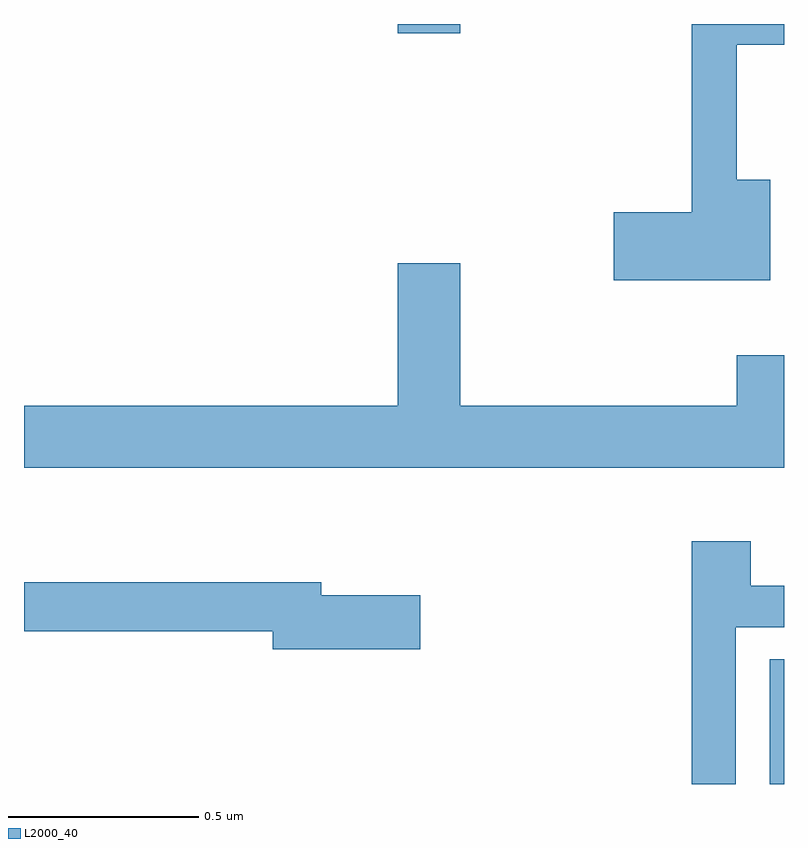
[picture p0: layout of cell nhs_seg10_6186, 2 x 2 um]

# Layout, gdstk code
import gdstk
lib = gdstk.Library(unit=1e-6, precision=1e-09)
def R(c, l, rs):  # rectangles x0, y0, x1, y1
    for r in rs: c.add(gdstk.rectangle(r[:2], r[2:], *l))
def P(c, l, *ps):  # polygons
    for p in ps: c.add(gdstk.Polygon(p, *l))
L2000_40 = (2000, 40)

nhs_seg10_6186 = lib.new_cell('nhs_seg10_6186')
R(nhs_seg10_6186, L2000_40, [(189.962,1283.5,190,1283.828), (188.984,1285.476,189.148,1285.5)])
P(nhs_seg10_6186, L2000_40, [(189.964,1285.09),(189.875,1285.09),(189.875,1285.446),(190,1285.446),(190,1285.5),(189.757,1285.5),(189.757,1285.004),(189.552,1285.004),(189.552,1284.826),(189.964,1284.826)],
  [(190,1284.628),(189.875,1284.628),(189.875,1284.496),(189.148,1284.496),(189.148,1284.871),(188.984,1284.871),(188.984,1284.496),(188,1284.496),(188,1284.332),(190,1284.332)],
  [(189.873,1283.913),(190,1283.913),(190,1284.022),(189.913,1284.022),(189.913,1284.139),(189.757,1284.139),(189.757,1283.5),(189.873,1283.5)],
  [(189.043,1283.997),(188.782,1283.997),(188.782,1284.031),(188,1284.031),(188,1283.902),(188.654,1283.902),(188.654,1283.855),(189.043,1283.855)])

lib.write_gds('nhs_seg10_6186.gds')
